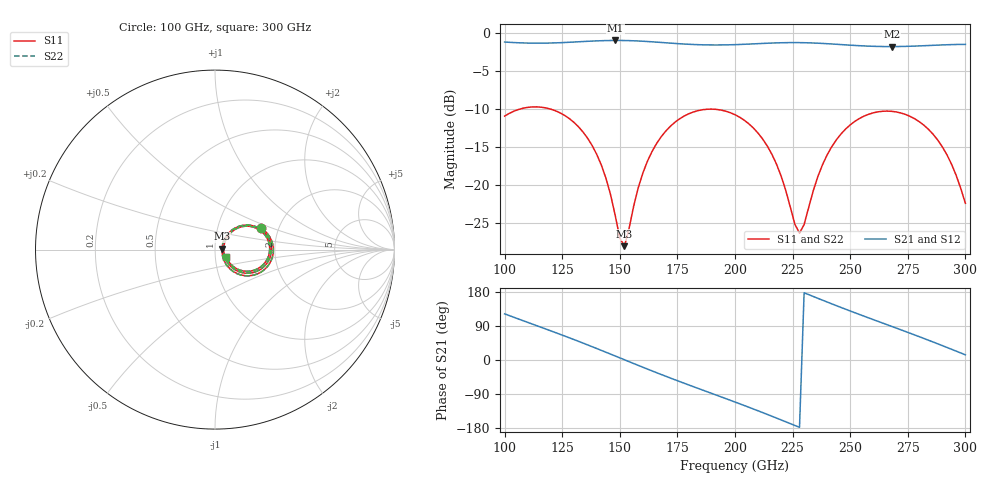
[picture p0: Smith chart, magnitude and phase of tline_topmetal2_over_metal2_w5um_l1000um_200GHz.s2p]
#  GHZ S DB R 50
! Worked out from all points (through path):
!   101 points, 100 GHz to 300 GHz, reference 50 ohm
!   highest |S21| = -1.02 dB at 148 GHz (marker M1); lowest = -1.8 dB at 268 GHz (marker M2)
!   group delay of S21, straight-line fit = 6.52 ps
!   lowest |S11| = -28.1 dB at 152 GHz (marker M3), VSWR 1.08, Z = 54.1 + j0.477 ohm
!   |S11| at or under -10 dB: start of sweep to 107.3 GHz; 119.3 GHz to end of sweep
!   |S22| runs from -28.4 to -9.8 dB; largest |S21 - S12| = 9.7e-14
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100  -10.98 25.4  -1.22 121.8  -1.22 121.8  -10.98 25.3
118  -9.90 -10.1  -1.37 81.5  -1.37 81.5  -9.91 -10.3
134  -13.05 -40.8  -1.16 44.7  -1.16 44.7  -13.06 -41.1
142  -17.43 -52.1  -1.05 25.4  -1.05 25.4  -17.45 -52.6
148  -24.04 -44.5  -1.02 10.6  -1.02 10.6  -24.14 -45.5
150  -27.01 -26.7  -1.02 5.6  -1.02 5.6  -27.23 -27.6
152  -28.09 6.4  -1.03 0.7  -1.03 0.7  -28.39 6.6
160  -18.47 50.4  -1.12 -19.0  -1.12 -19.0  -18.51 51.0
168  -13.68 40.7  -1.28 -38.3  -1.28 -38.3  -13.69 41.1
184  -10.25 11.0  -1.57 -75.0  -1.57 -75.0  -10.26 11.2
200  -10.79 -19.4  -1.57 -110.9  -1.57 -110.9  -10.80 -19.2
216  -15.99 -45.3  -1.36 -148.4  -1.36 -148.4  -16.01 -45.1
228  -26.37 -0.0  -1.31 -177.7  -1.31 -177.7  -26.33 0.3
234  -20.77 44.9  -1.35 167.5  -1.35 167.5  -20.75 44.9
240  -16.07 45.4  -1.44 153.0  -1.44 153.0  -16.07 45.4
248  -12.68 34.0  -1.60 134.0  -1.60 134.0  -12.68 34.0
258  -10.73 16.0  -1.77 111.1  -1.77 111.1  -10.73 16.1
268  -10.34 -2.6  -1.82 88.7  -1.82 88.7  -10.35 -2.6
278  -11.33 -20.9  -1.76 66.0  -1.76 66.0  -11.33 -20.9
286  -13.37 -34.4  -1.66 47.4  -1.66 47.4  -13.38 -34.4
294  -17.31 -42.9  -1.57 28.3  -1.57 28.3  -17.34 -43.0
300  -22.45 -33.5  -1.53 13.6  -1.53 13.6  -22.53 -33.6
